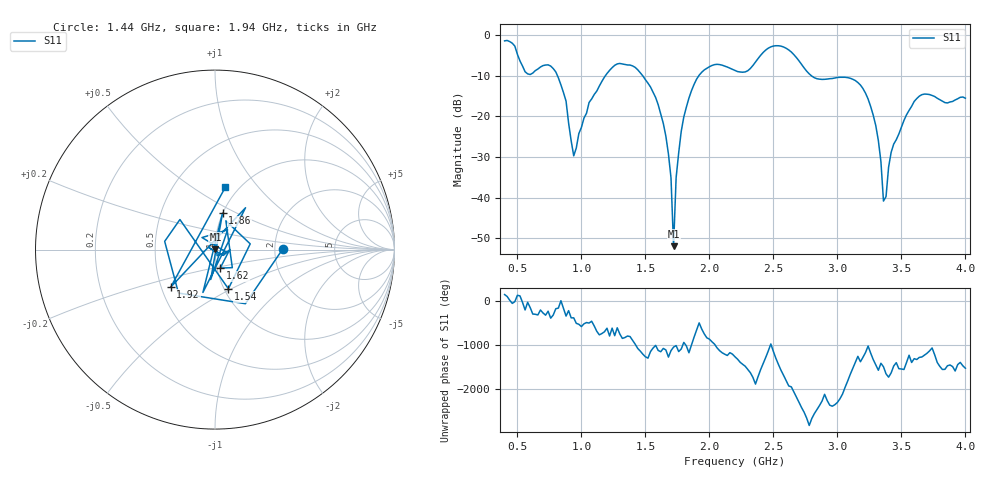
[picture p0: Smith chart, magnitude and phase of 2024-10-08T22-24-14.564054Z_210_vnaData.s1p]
! Created with skrf (http://scikit-rf.org).
# Hz S RI R 50.0
!freq ReS11 ImS11
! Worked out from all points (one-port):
!   181 points, 400 MHz to 4 GHz, reference 50 ohm
!   lowest |S11| = -51.9 dB at 1.72 GHz (marker M1), VSWR 1.01, Z = 50.2 + j0.128 ohm
!   |S11| at or under -10 dB: 813.6 MHz to 1.186 GHz (372.8 MHz wide, 37.3 % of centre); 1.48 GHz to 1.916 GHz (436.3 MHz wide, 25.7 % of centre); 2.798 GHz to end of sweep
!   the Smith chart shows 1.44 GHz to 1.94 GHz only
!   S11 on the Smith chart (normalised r, x): 1.44 GHz: 2.21, +0.01; 1.54 GHz: 1.05, -0.48; 1.62 GHz: 1.04, -0.22; 1.86 GHz: 1.00, +0.42; 1.92 GHz: 0.56, -0.26; 1.94 GHz: 0.87, +0.69
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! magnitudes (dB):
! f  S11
! 400 MHz  -1.4
! 580 MHz  -9.5
! 760 MHz  -7.6
! 860 MHz  -14.1
! 940 MHz  -29.7
! 1.06 GHz  -16.5
! 1.3 GHz  -6.9
! 1.44 GHz  -8.5
! 1.54 GHz  -12.7
! 1.62 GHz  -19.4
! 1.7 GHz  -35.1
! 1.72 GHz  -51.9
! 1.74 GHz  -35.1
! 1.76 GHz  -29.0
! 1.86 GHz  -13.6
! 1.92 GHz  -9.8
! 1.94 GHz  -9.1
! 2.2 GHz  -8.7
! 2.5 GHz  -2.6
! 2.66 GHz  -4.8
! 2.82 GHz  -10.4
! 3.1 GHz  -10.6
! 3.28 GHz  -19.7
! 3.34 GHz  -31.1
! 3.36 GHz  -40.8
! 3.42 GHz  -28.8
! 3.56 GHz  -18.5
! 4 GHz  -15.5
